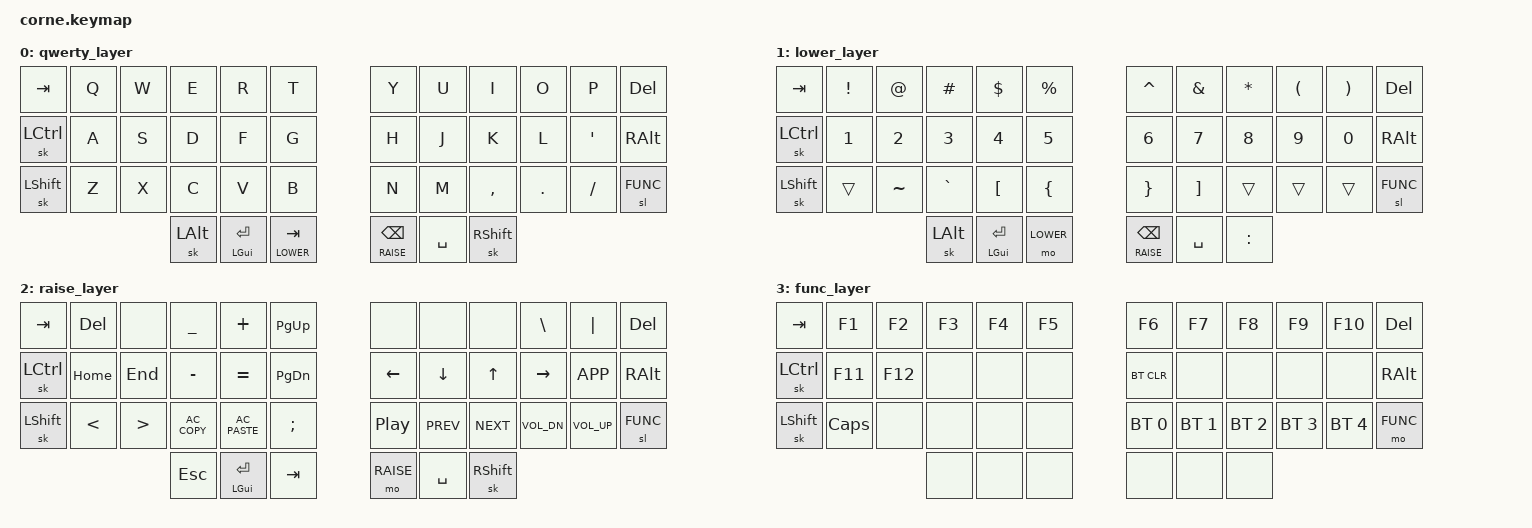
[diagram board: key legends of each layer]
/*
 * Markstos 5+1 v2.2 keymap variation for wireless Corne
 * https://mark.stosberg.com/markstos-corne-3x5-1-keyboard-layout/
 */

#include <behaviors.dtsi>
#include <dt-bindings/zmk/keys.h>
#include <dt-bindings/zmk/bt.h>

#define QWERTY  0
#define LOWER   1
#define RAISE   2
#define FUNC    3

&sk {
    quick-release;
};



/ {
    behaviors {
        lt_qt: layer_tap_quick_tap {
            compatible = "zmk,behavior-hold-tap";
            #binding-cells = <2>;
            flavor = "balanced";
            tapping-term-ms = <175>;
            quick-tap-ms = <175>;
            bindings = <&mo>, <&kp>;
        };
    };
};

/ {
        keymap {
                compatible = "zmk,keymap";

                qwerty_layer {
// -----------------------------------------------------------------------------------------
// |  TAB |  Q  |  W  |  E  |  R  |  T  |       |  Y  |  U   |  I  |  O  |  P  | DEL  |
// | CTRL |  A  |  S  |  D  |  F  |  G  |       |  H  |  J   |  K  |  L  |  '  | ALTG |
// | SHFT |  Z  |  X  |  C  |  V  |  B  |       |  N  |  M   |  ,  |  .  |  /  | FUNC |
//       |  ALT | ENT/GUI  | TAB/LOWER  |       | BKSP/RAISE | SPCE | SHFT |
                        bindings = <
   &kp TAB      &kp Q   &kp W   &kp E   &kp R   &kp T           &kp Y   &kp U   &kp I     &kp O   &kp P    &kp DEL
   &sk LCTRL    &kp A   &kp S   &kp D   &kp F   &kp G           &kp H   &kp J   &kp K     &kp L   &kp SQT  &kp RALT
   &sk LSHFT    &kp Z   &kp X   &kp C   &kp V   &kp B           &kp N   &kp M   &kp COMMA &kp DOT &kp FSLH &sl FUNC
        &sk LALT        &mt LGUI RET    &lt LOWER TAB           &lt_qt RAISE BSPC  &kp SPACE &sk RSHFT
                        >;
                };
                lower_layer {
// -----------------------------------------------------------------------------------------
// |  TAB |  !  |  @  |  #  |  $  |  %  |       |  ^  |  &   |  *  |  (  |  )  | DEL  |
// | CTRL |  1  |  2  |  3  |  4  |  5  |       |  6  |  7   |  8  |  9  |  0  | ALTG |
// | SHFT |     |  ~  |  `  |  [  |  {  |       |  }  |  ]   |     |     |     | FUNC |
//       |  ALT | ENT/GUI  |  LOWER     |       | BKSP/RAISE | SPCE |  :  |
                        bindings = <
   &kp TAB      &kp EXCL &kp AT    &kp HASH  &kp DLLR &kp PRCNT       &kp CARET &kp AMPS &kp ASTRK &kp LPAR &kp RPAR &kp DEL
   &sk LCTRL    &kp N1   &kp N2    &kp N3    &kp N4   &kp N5          &kp N6    &kp N7   &kp N8    &kp N9   &kp N0   &kp RALT
   &sk LSHFT    &trans   &kp TILDE &kp GRAVE &kp LBKT &kp LBRC        &kp RBRC  &kp RBKT &trans    &trans   &trans   &sl FUNC
                &sk LALT    &mt LGUI RET    &mo LOWER                 &lt_qt RAISE BSPC  &kp SPACE &kp COLON
                        >;
                };

                raise_layer {
// -----------------------------------------------------------------------------------------
// |  TAB | DEL  | xxx |  _  |  +  | PgUp |       | xxx  | xxx  | xxx  |  \   |  |   | DEL  |
// | CTRL | home | end |  -  |  =  | PgDn |       | left | down | up   | rght | APP  | ALTG |
// | SHFT |  <   |  >  | cpy | pst |  ;   |       | mply | mprv | mnxt | vold | volu | FUNC |
//        | ESC  | ENT/GUI  |   TAB   |           | RAISE | SPCE | SHFT |
                        bindings = <
   &kp TAB      &kp DEL  &none   &kp UNDER      &kp PLUS        &kp PG_UP       &none     &none      &none      &kp BSLH     &kp PIPE     &kp DEL
   &sk LCTRL    &kp HOME &kp END &kp MINUS      &kp EQUAL       &kp PG_DN       &kp LEFT  &kp DOWN   &kp UP     &kp RIGHT    &kp K_APP    &kp RALT
   &sk LSHFT    &kp LT   &kp GT  &kp C_AC_COPY  &kp C_AC_PASTE  &kp SEMI        &kp C_PP  &kp C_PREV &kp C_NEXT &kp C_VOL_DN &kp C_VOL_UP &sl FUNC
                                &kp ESC   &mt LGUI RET    &kp TAB               &mo RAISE  &kp SPACE &sk RSHFT
                        >;
                };

                func_layer {
// -----------------------------------------------------------------------------------------
// |  TAB | F1   | F2  | F3  | F4  | F5  |       | F6    | F7  | F8  | F9  | F10 | DEL  |
// | CTRL | F11  | F12 | xxx | xxx | xxx |       | BTCLR | xxx | xxx | xxx | xxx | ALTG |
// | SHFT | CAPS | xxx | xxx | xxx | xxx |       |  BT1  | BT2 | BT3 | BT4 | BT5 | FUNC |
//                     | xxx | xxx | xxx |       | xxx   | xxx | xxx |
                        bindings = <
   &kp TAB   &kp F1   &kp F2   &kp F3  &kp F4  &kp F5      &kp F6       &kp F7       &kp F8       &kp F9       &kp F10      &kp DEL
   &sk LCTRL &kp F11  &kp F12  &none   &none   &none       &bt BT_CLR   &none        &none        &none        &none        &kp RALT
   &sk LSHFT &kp CAPS &none    &none   &none   &none       &bt BT_SEL 0 &bt BT_SEL 1 &bt BT_SEL 2 &bt BT_SEL 3 &bt BT_SEL 4 &mo FUNC
                             &none    &none    &none       &none    &none    &none
                        >;
                };
        };
};
